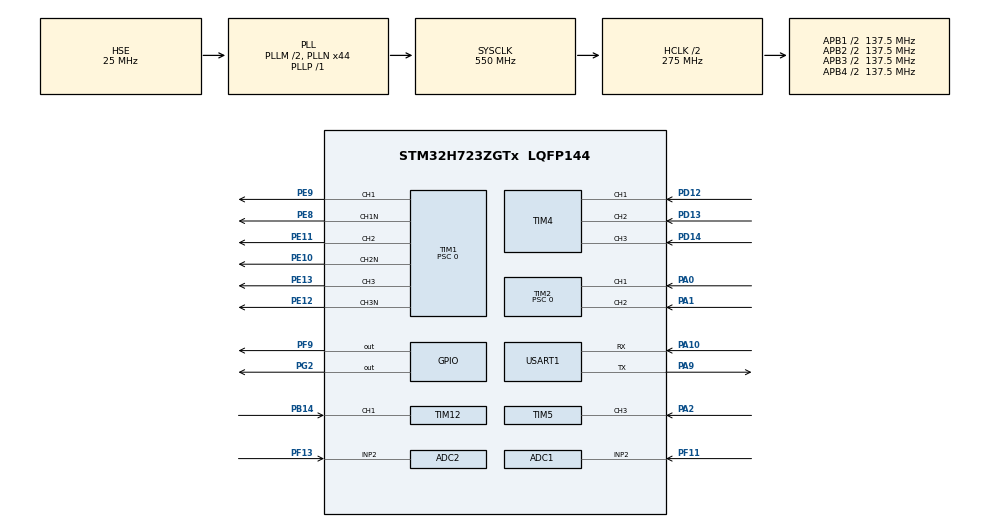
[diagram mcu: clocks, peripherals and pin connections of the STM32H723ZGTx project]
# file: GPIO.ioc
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ADC1.ClockPrescaler=ADC_CLOCK_SYNC_PCLK_DIV1
ADC1.ContinuousConvMode=DISABLE
ADC1.EOCSelection=ADC_EOC_SEQ_CONV
ADC1.EnableInjectedConversion=ENABLE
ADC1.EnableRegularConversion=DISABLE
ADC1.ExternalTrigInjecConv=ADC_EXTERNALTRIGINJEC_T1_TRGO
ADC1.InjNumberOfConversion=1
ADC1.InjectedChannel-18\#ChannelInjectedConversion=ADC_CHANNEL_2
ADC1.InjectedOffsetNumber-18\#ChannelInjectedConversion=ADC_OFFSET_NONE
ADC1.InjectedOffsetSaturation-18\#ChannelInjectedConversion=DISABLE
ADC1.InjectedOffsetSignedSaturation-18\#ChannelInjectedConversion=DISABLE
ADC1.InjectedRank-18\#ChannelInjectedConversion=1
ADC1.InjectedSamplingTime-18\#ChannelInjectedConversion=ADC_SAMPLETIME_8CYCLES_5
ADC1.Mode=ADC_DUALMODE_INJECSIMULT
ADC1.Resolution=ADC_RESOLUTION_12B
ADC1.master=1
ADC2.ClockPrescaler=ADC_CLOCK_SYNC_PCLK_DIV1
ADC2.EOCSelection=ADC_EOC_SEQ_CONV
ADC2.EnableInjectedConversion=ENABLE
ADC2.EnableRegularConversion=DISABLE
ADC2.InjNumberOfConversion=1
ADC2.InjectedChannel-20\#ChannelInjectedConversion=ADC_CHANNEL_2
ADC2.InjectedOffsetNumber-20\#ChannelInjectedConversion=ADC_OFFSET_NONE
ADC2.InjectedOffsetSaturation-20\#ChannelInjectedConversion=DISABLE
ADC2.InjectedRank-20\#ChannelInjectedConversion=1
ADC2.InjectedSamplingTime-20\#ChannelInjectedConversion=ADC_SAMPLETIME_8CYCLES_5
ADC2.Mode=ADC_DUALMODE_INJECSIMULT
ADC2.Resolution=ADC_RESOLUTION_12B
CORTEX_M7.default_mode_Activation=1
Dma.Request0=USART1_RX
Dma.Request1=USART1_TX
Dma.USART1_RX.0.Direction=DMA_PERIPH_TO_MEMORY
Dma.USART1_RX.0.EventEnable=DISABLE
Dma.USART1_RX.0.FIFOMode=DMA_FIFOMODE_DISABLE
Dma.USART1_RX.0.Instance=DMA1_Stream0
Dma.USART1_RX.0.MemDataAlignment=DMA_MDATAALIGN_BYTE
Dma.USART1_RX.0.MemInc=DMA_MINC_ENABLE
Dma.USART1_RX.0.Mode=DMA_CIRCULAR
Dma.USART1_RX.0.PeriphDataAlignment=DMA_PDATAALIGN_BYTE
Dma.USART1_RX.0.PeriphInc=DMA_PINC_DISABLE
Dma.USART1_RX.0.Polarity=HAL_DMAMUX_REQ_GEN_RISING
Dma.USART1_RX.0.Priority=DMA_PRIORITY_LOW
Dma.USART1_RX.0.RequestNumber=1
Dma.USART1_RX.0.SignalID=NONE
Dma.USART1_RX.0.SyncEnable=DISABLE
Dma.USART1_RX.0.SyncPolarity=HAL_DMAMUX_SYNC_NO_EVENT
Dma.USART1_RX.0.SyncRequestNumber=1
Dma.USART1_RX.0.SyncSignalID=NONE
Dma.USART1_TX.1.Direction=DMA_MEMORY_TO_PERIPH
Dma.USART1_TX.1.EventEnable=DISABLE
Dma.USART1_TX.1.FIFOMode=DMA_FIFOMODE_DISABLE
Dma.USART1_TX.1.Instance=DMA1_Stream1
Dma.USART1_TX.1.MemDataAlignment=DMA_MDATAALIGN_BYTE
Dma.USART1_TX.1.MemInc=DMA_MINC_ENABLE
Dma.USART1_TX.1.Mode=DMA_NORMAL
Dma.USART1_TX.1.PeriphDataAlignment=DMA_PDATAALIGN_BYTE
Dma.USART1_TX.1.PeriphInc=DMA_PINC_DISABLE
Dma.USART1_TX.1.Polarity=HAL_DMAMUX_REQ_GEN_RISING
Dma.USART1_TX.1.Priority=DMA_PRIORITY_LOW
Dma.USART1_TX.1.RequestNumber=1
Dma.USART1_TX.1.SignalID=NONE
Dma.USART1_TX.1.SyncEnable=DISABLE
Dma.USART1_TX.1.SyncPolarity=HAL_DMAMUX_SYNC_NO_EVENT
Dma.USART1_TX.1.SyncRequestNumber=1
Dma.USART1_TX.1.SyncSignalID=NONE
Mcu.Family=STM32H7
Mcu.Name=STM32H723ZGTx
Mcu.Package=LQFP144
Mcu.UserConstants=speed_calc_freq_for_encoder,MOTOR_SPEED_CALC_FREQ_FOR_ENCODER;pwm_freq,MOTOR_PWM_FREQ;speed_calc_freq,MOTOR_SPEED_CALC_FREQ
NVIC.ADC_IRQn=true\:1\:0\:true\:false\:true\:true\:true\:true
NVIC.DMA1_Stream0_IRQn=true\:0\:0\:false\:false\:true\:false\:true\:true
NVIC.DMA1_Stream1_IRQn=true\:0\:0\:false\:false\:true\:false\:true\:true
NVIC.PriorityGroup=NVIC_PRIORITYGROUP_4
NVIC.RCC_IRQn=true\:0\:0\:false\:false\:true\:true\:false\:true
NVIC.TIM3_IRQn=true\:1\:0\:true\:false\:true\:true\:true\:true
NVIC.TIM4_IRQn=true\:1\:0\:true\:false\:true\:true\:true\:true
NVIC.TIM5_IRQn=true\:1\:0\:true\:false\:true\:true\:true\:true
NVIC.TIM6_DAC_IRQn=true\:0\:0\:false\:false\:true\:true\:true\:true
NVIC.TIM8_BRK_TIM12_IRQn=true\:0\:0\:false\:false\:true\:true\:true\:true
NVIC.USART1_IRQn=true\:0\:0\:false\:false\:true\:true\:true\:true
PA0.Signal=S_TIM2_CH1_ETR
PA1.Signal=S_TIM2_CH2
PA10.Mode=Asynchronous
PA10.Signal=USART1_RX
PA13(JTMS/SWDIO).Mode=Serial_Wire
PA13(JTMS/SWDIO).Signal=DEBUG_JTMS-SWDIO
PA14(JTCK/SWCLK).Mode=Serial_Wire
PA14(JTCK/SWCLK).Signal=DEBUG_JTCK-SWCLK
PA2.Signal=S_TIM5_CH3
PA9.Mode=Asynchronous
PA9.Signal=USART1_TX
PB14.Signal=S_TIM12_CH1
PD12.Signal=S_TIM4_CH1
PD13.Signal=S_TIM4_CH2
PD14.Signal=S_TIM4_CH3
PE10.Mode=PWM Generation2 CH2 CH2N
PE10.Signal=TIM1_CH2N
PE11.Signal=S_TIM1_CH2
PE12.Mode=PWM Generation3 CH3 CH3N
PE12.Signal=TIM1_CH3N
PE13.Signal=S_TIM1_CH3
PE8.Mode=PWM Generation1 CH1 CH1N
PE8.Signal=TIM1_CH1N
PE9.Signal=S_TIM1_CH1
PF11.Mode=IN2-Single-Ended
PF11.Signal=ADC1_INP2
PF13.Mode=IN2-Single-Ended
PF13.Signal=ADC2_INP2
PF9.Signal=GPIO_Output
PG2.Signal=GPIO_Output
PH0-OSC_IN.Mode=HSE-External-Oscillator
PH0-OSC_IN.Signal=RCC_OSC_IN
PH1-OSC_OUT.Mode=HSE-External-Oscillator
PH1-OSC_OUT.Signal=RCC_OSC_OUT
ProjectManager.HeapSize=0x200
ProjectManager.StackSize=0x400
ProjectManager.TargetToolchain=MDK-ARM V5.32
RCC.ADCFreq_Value=100000000
RCC.APB1Freq_Value=137500000
RCC.APB2Freq_Value=137500000
RCC.APB3Freq_Value=137500000
RCC.APB4Freq_Value=137500000
RCC.CortexFreq_Value=550000000
RCC.D1PPRE=RCC_APB3_DIV2
RCC.D2PPRE1=RCC_APB1_DIV2
RCC.D2PPRE2=RCC_APB2_DIV2
RCC.D3PPRE=RCC_APB4_DIV2
RCC.DIVM1=2
RCC.DIVM2=2
RCC.DIVN1=44
RCC.DIVN2=16
RCC.DIVP1=1
RCC.HCLKFreq_Value=275000000
RCC.HPRE=RCC_HCLK_DIV2
RCC.PLLFRACN=0
RCC.PLLSourceVirtual=RCC_PLLSOURCE_HSE
RCC.SYSCLKFreq_VALUE=550000000
RCC.SYSCLKSource=RCC_SYSCLKSOURCE_PLLCLK
RCC.USBFreq_Value=275000000
SH.S_TIM12_CH1.0=TIM12_CH1,Input_Capture1_from_TI1
SH.S_TIM1_CH1.0=TIM1_CH1,PWM Generation1 CH1 CH1N
SH.S_TIM1_CH2.0=TIM1_CH2,PWM Generation2 CH2 CH2N
SH.S_TIM1_CH3.0=TIM1_CH3,PWM Generation3 CH3 CH3N
SH.S_TIM2_CH1_ETR.0=TIM2_CH1,Encoder_Interface
SH.S_TIM2_CH2.0=TIM2_CH2,Encoder_Interface
SH.S_TIM4_CH1.0=TIM4_CH1,Xored_Inputs_Hall_Sensor_Interface
SH.S_TIM4_CH2.0=TIM4_CH2,Xored_Inputs_Hall_Sensor_Interface
SH.S_TIM4_CH3.0=TIM4_CH3,Xored_Inputs_Hall_Sensor_Interface
SH.S_TIM5_CH3.0=TIM5_CH3,Input_Capture3_from_TI3
TIM1.AutoReloadPreload=TIM_AUTORELOAD_PRELOAD_ENABLE
TIM1.Channel-PWM\ Generation1\ CH1\ CH1N=TIM_CHANNEL_1
TIM1.Channel-PWM\ Generation2\ CH2\ CH2N=TIM_CHANNEL_2
TIM1.Channel-PWM\ Generation3\ CH3\ CH3N=TIM_CHANNEL_3
TIM1.ClockDivision=TIM_CLOCKDIVISION_DIV1
TIM1.CounterMode=TIM_COUNTERMODE_CENTERALIGNED3
TIM1.DeadTime=110
TIM1.Period=275*1000000/pwm_freq
TIM1.Prescaler=0
TIM1.RepetitionCounter=1
TIM1.TIM_MasterOutputTrigger=TIM_TRGO_UPDATE
TIM12.Channel-Input_Capture1_from_TI1=TIM_CHANNEL_1
TIM12.ICFilter_CH1=5
TIM12.Period=65535
TIM12.Prescaler=0
TIM2.EncoderMode=TIM_ENCODERMODE_TI12
TIM2.IC1Filter=7
TIM2.IC2Filter=7
TIM2.Period=4294967295
TIM2.Prescaler=0
TIM2.TIM_MasterOutputTrigger=TIM_TRGO_RESET
TIM2.TIM_MasterSlaveMode=TIM_MASTERSLAVEMODE_DISABLE
TIM3.AutoReloadPreload=TIM_AUTORELOAD_PRELOAD_ENABLE
TIM3.Period=999
TIM3.Prescaler=275-1
TIM5.Channel-Input_Capture3_from_TI3=TIM_CHANNEL_3
TIM5.ICFilter_CH3=7
TIM5.Period=4294967295
TIM5.Prescaler=274
TIM5.TIM_MasterOutputTrigger=TIM_TRGO_RESET
TIM6.Period=1000000/speed_calc_freq
TIM6.Prescaler=275-1
USART1.VirtualMode-Asynchronous=VM_ASYNC
VP_MEMORYMAP_VS_MEMORYMAP.Mode=CurAppReg
VP_TIM12_VS_ClockSourceINT.Mode=Internal
VP_TIM1_VS_ClockSourceINT.Mode=Internal
VP_TIM3_VS_ClockSourceINT.Mode=Internal
VP_TIM5_VS_ClockSourceINT.Mode=Internal
VP_TIM6_VS_ClockSourceINT.Mode=Enable_Timer
board=custom

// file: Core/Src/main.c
/* USER CODE BEGIN Header */
/**
 ******************************************************************************
 * @file           : main.c
 * @brief          : Main program body
 ******************************************************************************
 * @attention
 *
 * Copyright (c) 2025 STMicroelectronics.
 * All rights reserved.
 *
 * This software is licensed under terms that can be found in the LICENSE file
 * in the root directory of this software component.
 * If no LICENSE file comes with this software, it is provided AS-IS.
 *
 ******************************************************************************
 */
/* USER CODE END Header */
#include "main.h"
#include "adc.h"
#include "dma.h"
#include "tim.h"
#include "usart.h"
#include "gpio.h"

/* USER CODE BEGIN Includes */
#include "arm_math.h"
#include "stdbool.h"
#include "stdio.h"
#include "stdlib.h"
#include "string.h"
#include "sensor.h"
#include "adc_driver.h"
#include "svpwm.h"
#include "uart_dma_lib.h"
#include "pid.h"
#include "foc_transform.h"
#include "pi_control.h"
#include "scurve_ramp.h"
#include "multi_ramp.h"
#include "smo.h"
#include "LPF.h"

/* USER CODE END Includes */

/* USER CODE BEGIN PTD */
/*PID*/
PID_HandleTypeDef pid_speed;
PID_HandleTypeDef pid_id;
PID_HandleTypeDef pid_iq;

PI_Clamping pi_speed;
PI_Clamping pi_id;
PI_Clamping pi_iq;
SCurve_Profile s_ramp;
MultiRamp_Gen ramp;
/* USER CODE END PTD */

/* USER CODE BEGIN PV */
		/* Sensor variables */
float elec_angle_rad_hall;          /* Electrical angle (rad) */
float elec_angle_rad_encoder;
float mech_angle_rad_encoder;          /* Mechanical angle (rad) */
float mech_angle_deg;
float elec_angle_deg;
float raw_angle;

uint8_t hall_step;             /* Current Hall step (1..6) */

/* Current measurement variables */
float iu, iv,iw;                  								 /* Phase A, B,C currents (A) */

float i_alpha, i_beta , v_alpha , v_beta;          /* Stationary frame currents */

float i_d = 0 , i_q = 0 , i_q_ref = 0 , i_d_ref = 0;             /* Rotating frame currents */

float v_d = 0.0f , v_q = 0.0f;

uint8_t state = 0;

int state_Z=0;

int dir =1;
float threshold;

/*PID*/
float speed_mechanic_rad;
float speed_ref_rpm = 1000.0f;      // T?c d? d?t (RPM)
float speed_mechanic_rpm = 0.0f;    // T?c d? h?i ti?p (RPM)
float speed_ref_rads = 100.0f; // setpoint speed rad/s

//smo
float theta_e, omega_e;
float error_theta;
float ss_openloop_timer = 0.0f;   // Bộ đếm thời gian trong pha open‑loop (giây)
float ss_openloop_speed = 0.0f;   // Tốc độ ảo tăng dần (rad/s)
//smo
typedef enum {
    SS_ALIGN = 0,
    SS_OPENLOOP,
    SS_SWITCH,
    SS_RUN
} SensorlessSubState;

SensorlessSubState state_smo = SS_ALIGN;
float ss_align_timer = 0.0f;
float ss_openloop_theta = 0.0f;
float ss_openloop_omega = 0.0f;
float ss_switch_timer = 0.0f;

SMO_Handle smo;                 // Đối tượng SMO toàn cục
float theta_smo, omega_smo;     // Góc và tốc độ từ SMO
float speed_mechanic_rad_smo;

LPF_FirstOrder_t LPF;
/* USER CODE END PV */

void SystemClock_Config(void);
static void MPU_Config(void);
/* USER CODE BEGIN PFP */
void Calib(void);
void Align_Process(void);
float value_offset;
/* USER CODE END PFP */

/* USER CODE BEGIN 0 */
/* FOC loop interrupt (e.g., 10 kHz) */

void HAL_TIM_PeriodElapsedCallback(TIM_HandleTypeDef *htim)
{
    if (htim->Instance == TIM6)   // FOC loop (10kHz)
    {
				value_offset =ADC_Driver_GetOffset_IV();
        elec_angle_rad_hall = Sensor_Get_Electrical_Angle_Hall();

				raw_angle = Encoder_Get_Raw_Angle();
				elec_angle_rad_encoder = Encoder_Get_Electric_Angle();
				mech_angle_rad_encoder = Encoder_Get_Mechanic_Angle();
				hall_step = Hall_GetStep();

				speed_mechanic_rad = Encoder_Get_Mechanic_Speed();
        float omega_e = speed_mechanic_rad * POLE_PAIRS;

        // ----- D? do�n g�c di?n (b� tr?) -----
        float Ts = 1.0f / MOTOR_SPEED_CALC_FREQ;          // 25e-6 s
        float t_delay = 3.87e-6f;                         // 3.87 �s
        float theta_pred = elec_angle_rad_encoder + omega_e * (Ts + t_delay);
        theta_pred = fmodf(theta_pred, 2.0f * M_PI);
        if (theta_pred < 0.0f) theta_pred += 2.0f * M_PI;

        iu = ADC_Driver_GetCurrents_1();
        iv = ADC_Driver_GetCurrents_2();
        iw = ADC_Driver_GetCurrents_3();

				  if (state == 1)
					{
						HAL_GPIO_WritePin(GPIOF, GPIO_PIN_9, GPIO_PIN_SET);
					FOC_InvPark(0.8, 0, 0, &v_alpha, &v_beta);
					SVPWM_Update(v_alpha, v_beta, iu, iv, iw);
					Encoder_Reset();
					v_d=0;
					v_q=0;
					}
					else if (state==2) {
						HAL_GPIO_WritePin(GPIOF, GPIO_PIN_9, GPIO_PIN_SET);
					HAL_GPIO_WritePin(GPIOG, GPIO_PIN_2, GPIO_PIN_SET);
					//SCurve_Update(&s_ramp, speed_ref_rads);
					MultiRamp_Update(&ramp,speed_ref_rads);

					FOC_Clarke(iu, iv, iw, &i_alpha, &i_beta);
					FOC_Park(i_alpha, i_beta, elec_angle_rad_encoder, &i_d, &i_q);

					i_q_ref = PID_Compute(&pid_speed, speed_ref_rads, speed_mechanic_rad);
					v_q = PID_Compute(&pid_iq, i_q_ref, i_q);
					v_d = PID_Compute(&pid_id, 0,i_d);

//						i_q_ref = PI_Update(&pi_speed,speed_ref_rads,speed_mechanic_rad);
//						v_q = PI_Update(&pi_iq,i_q_ref, i_q);
//						v_d = PI_Update(&pi_id,0, i_d);
					FOC_InvPark(v_d, v_q, elec_angle_rad_encoder, &v_alpha, &v_beta);
					SVPWM_Update(v_alpha, v_beta, iu, iv, iw);

					HAL_GPIO_WritePin(GPIOG, GPIO_PIN_2, GPIO_PIN_RESET);

					}
					else if(state ==3){
						HAL_GPIO_WritePin(GPIOF, GPIO_PIN_9, GPIO_PIN_SET);
						FOC_InvPark(v_d, v_q, elec_angle_rad_encoder, &v_alpha, &v_beta);
						SVPWM_Update(v_alpha, v_beta, iu, iv, iw);
					}
else if (state == 4) {
    HAL_GPIO_WritePin(GPIOF, GPIO_PIN_9, GPIO_PIN_SET);
    float dt = 1.0f / MOTOR_SPEED_CALC_FREQ;

    // 1. Clarke Transform
    FOC_Clarke(iu, iv, iw, &i_alpha, &i_beta);
		MultiRamp_Update(&ramp,speed_ref_rads);
    float id_ref_local = 0.0f;
    float iq_ref_local = 0.0f;

    // ====================== SENSORLESS STARTUP STATE MACHINE ======================
    switch (state_smo) {
        case SS_ALIGN: {
            // Rotor alignment (Id = 0.8A, Iq = 0, theta = 0)
            theta_e = 0.0f;
            omega_e = 0.0f;
            id_ref_local = 0.8f;
            iq_ref_local = 0.0f;

            ss_align_timer += dt;
            if (ss_align_timer >= 1.0f) {          // Align trong 1 giây
                state_smo = SS_OPENLOOP;
                ss_openloop_timer = 0.0f;
                ss_openloop_speed = 0.0f;
                ss_align_timer = 0.0f;
            }
            break;
        }

        case SS_OPENLOOP: {
            // Open-loop ramp-up
            ss_openloop_speed += 100.0f * dt;       // Gia tốc ~80 rad/s² (có thể chỉnh)
            ss_openloop_timer += dt;

            theta_e = ss_openloop_speed * ss_openloop_timer;   // theta = integral(omega)
            omega_e = ss_openloop_speed;

            id_ref_local = 0.0f;
            iq_ref_local = speed_ref_rads * 0.015f;   // Iq nhỏ để kéo động

            // Chuyển sang SWITCH khi đạt omega_min
            if (ss_openloop_speed >= smo.omega_min) {
                state_smo = SS_RUN;
                ss_switch_timer = 0.0f;
            }
            break;
        }

        case SS_SWITCH: {
            // Giữ open-loop thêm một khoảng thời gian để SMO hội tụ
            theta_e = ss_openloop_speed * ss_openloop_timer;
            omega_e = ss_openloop_speed;
            id_ref_local = 0.0f;
            iq_ref_local = speed_ref_rads * 0.015f;

            if (fabsf(smo.ialpha_est - i_alpha) < 0.001f &&
                fabsf(smo.ibeta_est - i_beta) < 0.001f) {
                state_smo = SS_RUN;
            }

            break;
        }

        case SS_RUN: {
            // Full sensorless - dùng SMO
            theta_e = SMO_GetCompensatedTheta(&smo);
            omega_e = LPF_FirstOrder_Update(&LPF,SMO_GetOmega(&smo));

            id_ref_local = 0.0f;
            speed_mechanic_rad_smo = omega_e / POLE_PAIRS;
            iq_ref_local = PID_Compute(&pid_speed, speed_ref_rads, speed_mechanic_rad_smo);
            break;
        }
    }

    // ====================== CURRENT CONTROL ======================
    FOC_Park(i_alpha, i_beta, theta_e, &i_d, &i_q);

    v_d = PID_Compute(&pid_id, id_ref_local, i_d);
    v_q = PID_Compute(&pid_iq, iq_ref_local, i_q);

    FOC_InvPark(v_d, v_q, theta_e, &v_alpha, &v_beta);

    // ====================== UPDATE SMO & PWM ======================
    SMO_Update(&smo, v_alpha, v_beta, i_alpha, i_beta, dt);

    SVPWM_Update(v_alpha, v_beta, iu, iv, iw);

    // Optional: monitor error
    error_theta = elec_angle_rad_encoder - theta_e  ;
}

					else if(state ==0){

						HAL_GPIO_WritePin(GPIOF, GPIO_PIN_9, GPIO_PIN_RESET);
						v_alpha = 0.0f; v_beta = 0.0f;
						SVPWM_Update(v_alpha, v_beta, iu, iv, iw);
						// Reset sensorless state
						state_smo = SS_ALIGN;
						ss_align_timer = 0.0f;
					}
    }
		else if (htim->Instance == TIM3)
		{
			EncoderSensor_Update();
		}
}

void HAL_TIM_IC_CaptureCallback(TIM_HandleTypeDef *htim)
{
    if (htim->Instance == TIM5 && htim->Channel == HAL_TIM_ACTIVE_CHANNEL_3)
    {
        uint32_t cap_val = HAL_TIM_ReadCapturedValue(&htim5, TIM_CHANNEL_3);
        Encoder_Capture_Handler(cap_val);
    }
    else if (htim->Instance == TIM4 && htim->Channel == HAL_TIM_ACTIVE_CHANNEL_1)
    {
        HallSensor_Update();
    }
    else if (htim->Instance == TIM12)
    {
        // Z-pulse nếu cần
    }
}

/* USER CODE END 0 */

int main(void)
{

  /* MPU Configuration--------------------------------------------------------*/
  MPU_Config();

  /* MCU Configuration--------------------------------------------------------*/

  /* Reset of all peripherals, Initializes the Flash interface and the Systick. */
  HAL_Init();

  /* Configure the system clock */
  SystemClock_Config();

  /* Initialize all configured peripherals */
  MX_GPIO_Init();
  MX_DMA_Init();
  MX_TIM1_Init();
  MX_TIM3_Init();
  MX_TIM2_Init();
  MX_TIM4_Init();
  MX_TIM5_Init();
  MX_ADC1_Init();
  MX_ADC2_Init();
  MX_USART1_UART_Init();
  MX_TIM12_Init();
  MX_TIM6_Init();
  /* USER CODE BEGIN 2 */

		//center-alinge
		SVPWM_Init(&htim1, VDC_BUS, (float)MOTOR_PWM_FREQ, htim1.Init.Period);
		SVPWM_Start();
    HAL_TIM_Base_Start_IT(&TIM_FOC_LOOP);
		HAL_TIM_Base_Start_IT(&TIM_SPEED_CALC);
		/* ======================== ADC sensor ======================== */
		ADC_Driver_Init();
		ADC_Driver_CalibrateOffset();
		/* ======================== Hall sensor ======================== */
		Hall_Sensor_Init();
		HallSensor_Update();
		/* ======================== Encoder sensor ======================== */
		Encoder_Sensor_Init();

		/* ======================== UART sensor ======================== */
		MX_USART1_UART_Init();
		UART_DMA_Init();
		UART_DMA_SendString("UART DMA with IDLE+HT/TC ready\r\n");
		/* ======================== PID ======================== */

		PID_Init(&pid_iq, 8.0f, 1749.0f, 0.0f, 1/MOTOR_SPEED_CALC_FREQ , VDC_BUS/SQRT3, -VDC_BUS/SQRT3);
		PID_Init(&pid_id, 8.0f, 1749.0f, 0.0f, 1/MOTOR_SPEED_CALC_FREQ , VDC_BUS/SQRT3, -VDC_BUS/SQRT3);
		PID_Init(&pid_speed, 0.0053f, 2.37f, 0.0f, 1/MOTOR_SPEED_CALC_FREQ, 2.8f, -2.8f);
		//PID_Init(&pid_speed, 0.0053f, 4.0f, 0.0f, 1/MOTOR_SPEED_CALC_FREQ, 2.8f, -2.8f);

		PI_Init(&pi_speed,0.1125,0.9375,1/MOTOR_SPEED_CALC_FREQ,10.0f,-10.0f);
		PI_Init(&pi_id,237.6697,11330,1/MOTOR_SPEED_CALC_FREQ,VDC_BUS/SQRT3,-VDC_BUS/SQRT3);
		PI_Init(&pi_iq,237.6697,11330,1/MOTOR_SPEED_CALC_FREQ,VDC_BUS/SQRT3,-VDC_BUS/SQRT3);

		SCurve_Init(&s_ramp,1/MOTOR_SPEED_CALC_FREQ,1,1,1);

		MultiRamp_Init(&ramp,1/MOTOR_SPEED_CALC_FREQ,5,10,10,20,20);
		/* ======================== SMO ======================== */

		SMO_Init(&smo, MOTOR_RS, MOTOR_LS, MOTOR_PSI_F, POLE_PAIRS,3000.0f, 300.0f, 1.0f / MOTOR_SPEED_CALC_FREQ);
		LPF_FirstOrder_Init(&LPF,1000,1.0f / MOTOR_SPEED_CALC_FREQ);
  /* USER CODE END 2 */

  /* Infinite loop */
     while (1)
    {

    }
}

void SystemClock_Config(void)
{
  RCC_OscInitTypeDef RCC_OscInitStruct = {0};
  RCC_ClkInitTypeDef RCC_ClkInitStruct = {0};

  /** Supply configuration update enable
  */
  HAL_PWREx_ConfigSupply(PWR_LDO_SUPPLY);

  /** Configure the main internal regulator output voltage
  */
  __HAL_PWR_VOLTAGESCALING_CONFIG(PWR_REGULATOR_VOLTAGE_SCALE0);

  while(!__HAL_PWR_GET_FLAG(PWR_FLAG_VOSRDY)) {}

  /** Initializes the RCC Oscillators according to the specified parameters
  * in the RCC_OscInitTypeDef structure.
  */
  RCC_OscInitStruct.OscillatorType = RCC_OSCILLATORTYPE_HSE;
  RCC_OscInitStruct.HSEState = RCC_HSE_ON;
  RCC_OscInitStruct.PLL.PLLState = RCC_PLL_ON;
  RCC_OscInitStruct.PLL.PLLSource = RCC_PLLSOURCE_HSE;
  RCC_OscInitStruct.PLL.PLLM = 2;
  RCC_OscInitStruct.PLL.PLLN = 44;
  RCC_OscInitStruct.PLL.PLLP = 1;
  RCC_OscInitStruct.PLL.PLLQ = 2;
  RCC_OscInitStruct.PLL.PLLR = 2;
  RCC_OscInitStruct.PLL.PLLRGE = RCC_PLL1VCIRANGE_3;
  RCC_OscInitStruct.PLL.PLLVCOSEL = RCC_PLL1VCOWIDE;
  RCC_OscInitStruct.PLL.PLLFRACN = 0;
  if (HAL_RCC_OscConfig(&RCC_OscInitStruct) != HAL_OK)
  {
    Error_Handler();
  }

  /** Initializes the CPU, AHB and APB buses clocks
  */
  RCC_ClkInitStruct.ClockType = RCC_CLOCKTYPE_HCLK|RCC_CLOCKTYPE_SYSCLK
                              |RCC_CLOCKTYPE_PCLK1|RCC_CLOCKTYPE_PCLK2
                              |RCC_CLOCKTYPE_D3PCLK1|RCC_CLOCKTYPE_D1PCLK1;
  RCC_ClkInitStruct.SYSCLKSource = RCC_SYSCLKSOURCE_PLLCLK;
  RCC_ClkInitStruct.SYSCLKDivider = RCC_SYSCLK_DIV1;
  RCC_ClkInitStruct.AHBCLKDivider = RCC_HCLK_DIV2;
  RCC_ClkInitStruct.APB3CLKDivider = RCC_APB3_DIV2;
  RCC_ClkInitStruct.APB1CLKDivider = RCC_APB1_DIV2;
  RCC_ClkInitStruct.APB2CLKDivider = RCC_APB2_DIV2;
  RCC_ClkInitStruct.APB4CLKDivider = RCC_APB4_DIV2;

  if (HAL_RCC_ClockConfig(&RCC_ClkInitStruct, FLASH_LATENCY_3) != HAL_OK)
  {
    Error_Handler();
  }
}

 /* MPU Configuration */

void MPU_Config(void)
{
  MPU_Region_InitTypeDef MPU_InitStruct = {0};

  /* Disables the MPU */
  HAL_MPU_Disable();

  /** Initializes and configures the Region and the memory to be protected
  */
  MPU_InitStruct.Enable = MPU_REGION_ENABLE;
  MPU_InitStruct.Number = MPU_REGION_NUMBER0;
  MPU_InitStruct.BaseAddress = 0x0;
  MPU_InitStruct.Size = MPU_REGION_SIZE_4GB;
  MPU_InitStruct.SubRegionDisable = 0x87;
  MPU_InitStruct.TypeExtField = MPU_TEX_LEVEL0;
  MPU_InitStruct.AccessPermission = MPU_REGION_NO_ACCESS;
  MPU_InitStruct.DisableExec = MPU_INSTRUCTION_ACCESS_DISABLE;
  MPU_InitStruct.IsShareable = MPU_ACCESS_SHAREABLE;
  MPU_InitStruct.IsCacheable = MPU_ACCESS_NOT_CACHEABLE;
  MPU_InitStruct.IsBufferable = MPU_ACCESS_NOT_BUFFERABLE;

  HAL_MPU_ConfigRegion(&MPU_InitStruct);
  /* Enables the MPU */
  HAL_MPU_Enable(MPU_PRIVILEGED_DEFAULT);

}

void Error_Handler(void)
{
    __disable_irq();
    while (1)
    {
    }
}
